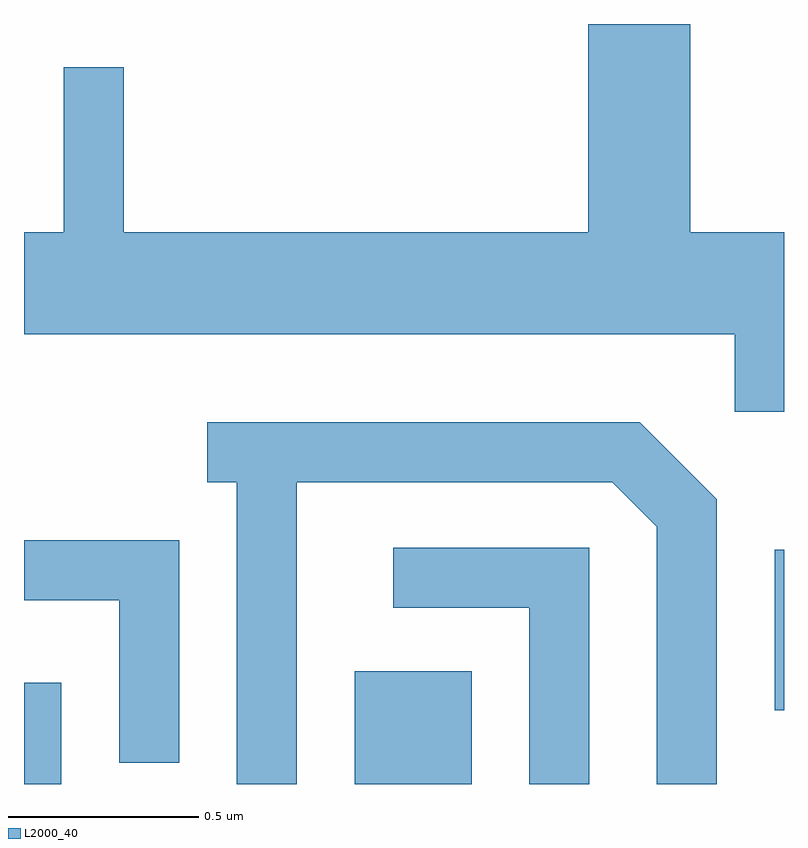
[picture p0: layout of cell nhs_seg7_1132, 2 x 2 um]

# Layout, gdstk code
import gdstk
lib = gdstk.Library(unit=1e-6, precision=1e-09)
def R(c, l, rs):  # rectangles x0, y0, x1, y1
    for r in rs: c.add(gdstk.rectangle(r[:2], r[2:], *l))
def P(c, l, *ps):  # polygons
    for p in ps: c.add(gdstk.Polygon(p, *l))
L2000_40 = (2000, 40)

nhs_seg7_1132 = lib.new_cell('nhs_seg7_1132')
R(nhs_seg7_1132, L2000_40, [(193.611,1704.252,193.709,1704.519), (194.481,1704.252,194.789,1704.549), (195.586,1704.446,195.611,1704.869)])
P(nhs_seg7_1132, L2000_40, [(195.611,1705.704),(195.364,1705.704),(195.364,1706.252),(195.096,1706.252),(195.096,1705.704),(193.874,1705.704),(193.874,1706.138),(193.716,1706.138),(193.716,1705.704),(193.611,1705.704),(193.611,1705.436),(195.481,1705.436),(195.481,1705.231),(195.611,1705.231)],
  [(194.329,1705.046),(195.159,1705.046),(195.276,1704.929),(195.276,1704.252),(195.434,1704.252),(195.434,1705.002),(195.232,1705.204),(194.093,1705.204),(194.093,1705.046),(194.171,1705.046),(194.171,1704.252),(194.329,1704.252)],
  [(194.019,1704.894),(193.611,1704.894),(193.611,1704.736),(193.861,1704.736),(193.861,1704.308),(194.019,1704.308)],
  [(195.099,1704.874),(194.583,1704.874),(194.583,1704.716),(194.941,1704.716),(194.941,1704.252),(195.099,1704.252)])

lib.write_gds('nhs_seg7_1132.gds')
